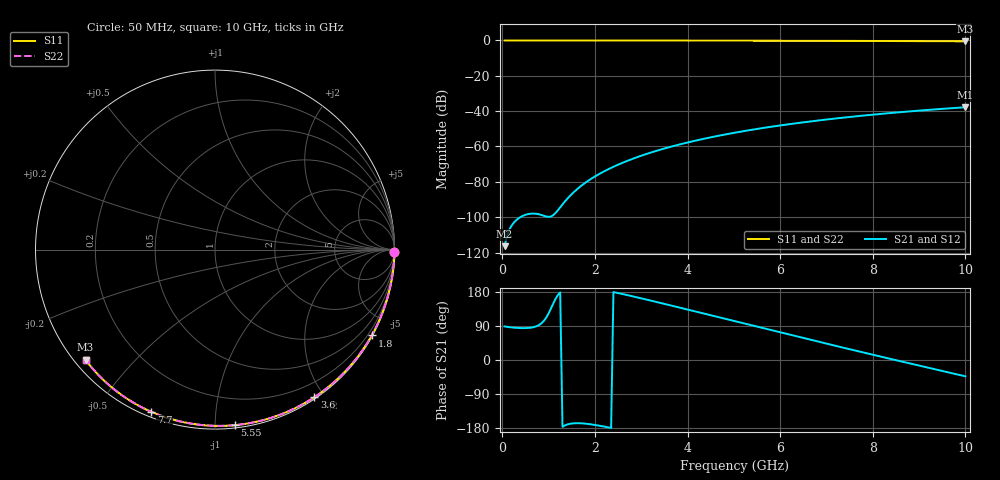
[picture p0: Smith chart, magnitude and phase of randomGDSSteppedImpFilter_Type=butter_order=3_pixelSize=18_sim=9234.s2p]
! freq	dB(S11)	phase(S11)	dB(S12)	phase(S12)
!  dB(S21)	phase(S21)	dB(S22)	phase(S22)
!S-par simulation data
#  GHz  S  DB  R 50
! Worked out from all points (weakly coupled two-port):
!   200 points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, 50 MHz to 10 GHz, reference 50 ohm
!   highest |S21| = -37.79 dB at 10 GHz (marker M1); lowest = -116.4 dB at 50 MHz (marker M2)
!   lowest |S11| = -0.5 dB at 10 GHz (marker M3), VSWR 36.80, Z = 1.54 - j18.4 ohm
!   |S11| at or under -10 dB: nowhere
!   |S22| runs from -0.5 to 0.0 dB; largest |S21 - S12| = 0
!   S11 on the Smith chart (normalised r, x): 50 MHz: open; 1.8 GHz: 0.03, -3.91; 3.6 GHz: 0.02, -1.88; 5.55 GHz: 0.02, -1.12; 7.7 GHz: 0.02, -0.68; 10 GHz: 0.03, -0.37
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0.05  -0.00 -0.8  -116.42 88.7  -116.42 88.7  -0.00 -0.8
0.45  -0.01 -7.3  -99.17 84.1  -99.17 84.1  -0.01 -7.3
0.9  -0.02 -14.5  -99.22 103.6  -99.22 103.6  -0.02 -14.5
1.75  -0.04 -27.9  -81.35 -167.5  -81.35 -167.5  -0.04 -27.9
1.8  -0.04 -28.7  -80.39 -168.0  -80.39 -168.0  -0.04 -28.7
1.85  -0.04 -29.5  -79.48 -168.7  -79.48 -168.7  -0.04 -29.5
2.05  -0.04 -32.6  -76.21 -172.4  -76.21 -172.4  -0.04 -32.6
2.2  -0.04 -34.9  -74.06 -175.7  -74.06 -175.7  -0.04 -34.9
2.55  -0.05 -40.3  -69.73 175.4  -69.73 175.4  -0.05 -40.3
2.95  -0.06 -46.4  -65.69 164.2  -65.69 164.2  -0.06 -46.4
3.4  -0.07 -53.1  -61.90 151.1  -61.90 151.1  -0.07 -53.1
3.6  -0.08 -56.0  -60.42 145.1  -60.42 145.1  -0.08 -56.0
3.9  -0.08 -60.4  -58.38 136.1  -58.38 136.1  -0.08 -60.4
4.3  -0.09 -66.2  -55.94 124.1  -55.94 124.1  -0.09 -66.2
5.05  -0.12 -76.7  -52.06 101.4  -52.06 101.4  -0.12 -76.7
5.55  -0.14 -83.5  -49.86 86.3  -49.86 86.3  -0.14 -83.5
6.1  -0.16 -90.9  -47.73 69.8  -47.73 69.8  -0.16 -90.9
6.7  -0.19 -98.7  -45.67 52.0  -45.67 52.0  -0.19 -98.7
7.7  -0.26 -111.4  -42.76 22.6  -42.76 22.6  -0.26 -111.4
8.35  -0.31 -119.5  -41.14 3.8  -41.14 3.8  -0.31 -119.5
9.2  -0.38 -129.9  -39.29 -20.4  -39.29 -20.4  -0.38 -129.9
10  -0.47 -139.6  -37.79 -43.1  -37.79 -43.1  -0.47 -139.6
